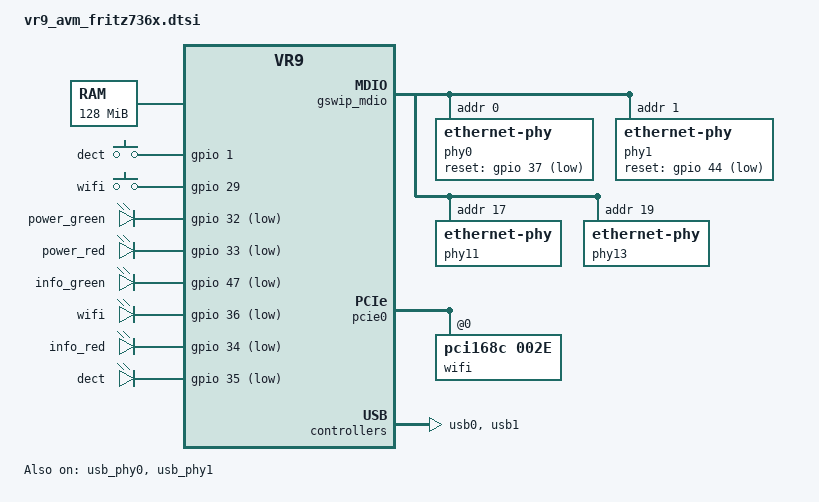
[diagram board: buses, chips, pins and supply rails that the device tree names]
// SPDX-License-Identifier: GPL-2.0-or-later OR MIT

#include "vr9.dtsi"

#include <dt-bindings/input/input.h>
#include <dt-bindings/mips/lantiq_rcu_gphy.h>

/ {
	compatible = "avm,fritz736x", "lantiq,xway", "lantiq,vr9";

	chosen {
		bootargs = "console=ttyLTQ0,115200";
	};

	aliases {
		led-boot = &power_green;
		led-failsafe = &power_red;
		led-running = &power_green;
		led-upgrade = &power_red;

		led-dsl = &info_green;
		led-wifi = &wifi;
	};

	memory@0 {
		device_type = "memory";
		reg = <0x0 0x8000000>;
	};

	keys {
		compatible = "gpio-keys-polled";
		poll-interval = <100>;

		dect {
			label = "dect";
			gpios = <&gpio 1 GPIO_ACTIVE_HIGH>;
			linux,code = <KEY_PHONE>;
		};

		wifi {
			label = "wifi";
			gpios = <&gpio 29 GPIO_ACTIVE_HIGH>;
			linux,code = <KEY_RFKILL>;
		};
	};

	leds: leds {
		compatible = "gpio-leds";

		power_green: power {
			gpios = <&gpio 32 GPIO_ACTIVE_LOW>;
			default-state = "keep";
		};

		power_red: power2 {
			gpios = <&gpio 33 GPIO_ACTIVE_LOW>;
		};

		info_green: info_green {
			gpios = <&gpio 47 GPIO_ACTIVE_LOW>;
		};

		wifi: wifi {
			gpios = <&gpio 36 GPIO_ACTIVE_LOW>;
		};

		info_red: info_red {
			gpios = <&gpio 34 GPIO_ACTIVE_LOW>;
		};

		dect: dect {
			gpios = <&gpio 35 GPIO_ACTIVE_LOW>;
		};
	};
};

&eth0 {
	mtd-mac-address = <&urlader 0xa91>;
	mtd-mac-address-increment = <(-2)>;
};

&gphy0 {
	lantiq,gphy-mode = <GPHY_MODE_GE>;
};

&gphy1 {
	lantiq,gphy-mode = <GPHY_MODE_GE>;
};

&gpio {
	pinctrl-names = "default";
	pinctrl-0 = <&state_default>;

	state_default: pinmux {
		phy-rst {
			lantiq,pins = "io37", "io44";
			lantiq,pull = <0>;
			lantiq,open-drain;
			lantiq,output = <1>;
		};
	};

};

&gswip_mdio {
	phy0: ethernet-phy@0 {
		reg = <0x00>;
		reset-gpios = <&gpio 37 GPIO_ACTIVE_LOW>;
	};

	phy1: ethernet-phy@1 {
		reg = <0x01>;
		reset-gpios = <&gpio 44 GPIO_ACTIVE_LOW>;
	};

	phy11: ethernet-phy@11 {
		reg = <0x11>;
	};

	phy13: ethernet-phy@13 {
		reg = <0x13>;
	};
};

&gswip_ports {
	port@0 {
		reg = <0>;
		label = "lan3";
		phy-mode = "rgmii";
		phy-handle = <&phy0>;
	};

	port@1 {
		reg = <1>;
		label = "lan4";
		phy-mode = "rgmii";
		phy-handle = <&phy1>;
	};

	port@2 {
		reg = <2>;
		label = "lan2";
		phy-mode = "internal";
		phy-handle = <&phy11>;
	};

	port@4 {
		reg = <4>;
		label = "lan1";
		phy-mode = "internal";
		phy-handle = <&phy13>;
	};
};

&pcie0 {
	status = "okay";

	pcie@0 {
		reg = <0 0 0 0 0>;
		#interrupt-cells = <1>;
		#size-cells = <1>;
		#address-cells = <2>;
		device_type = "pci";

		wifi@168c,002e {
			compatible = "pci168c,002e";
			reg = <0 0 0 0 0>;
			qca,no-eeprom; /* load from ath9k-eeprom-pci-0000:01:00.0.bin */
		};
	};
};

&usb_phy0 {
	status = "okay";
};

&usb_phy1 {
	status = "okay";
};

&usb0 {
	status = "okay";
};

&usb1 {
	status = "okay";
};
